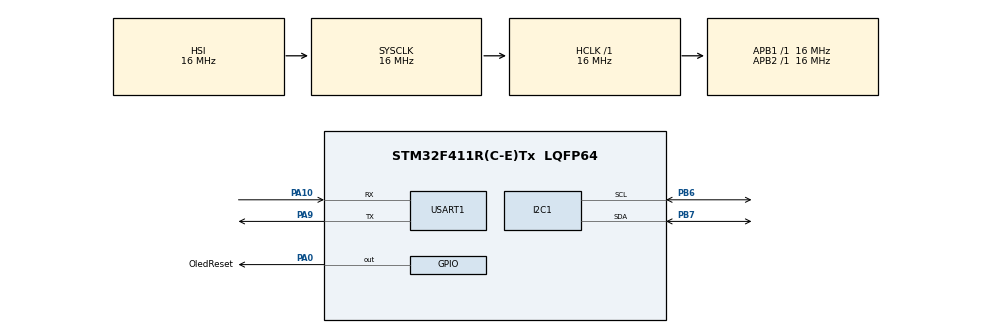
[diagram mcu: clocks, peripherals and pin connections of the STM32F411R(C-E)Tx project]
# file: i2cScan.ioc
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I2C1.I2C_Mode=I2C_Standard
Mcu.Family=STM32F4
Mcu.Name=STM32F411R(C-E)Tx
Mcu.Package=LQFP64
NVIC.PriorityGroup=NVIC_PRIORITYGROUP_4
PA0-WKUP.GPIO_Label=OledReset
PA0-WKUP.Signal=GPIO_Output
PA10.Mode=Asynchronous
PA10.Signal=USART1_RX
PA9.Mode=Asynchronous
PA9.Signal=USART1_TX
PB6.Mode=I2C
PB6.Signal=I2C1_SCL
PB7.Mode=I2C
PB7.Signal=I2C1_SDA
ProjectManager.HeapSize=0x200
ProjectManager.StackSize=0x400
ProjectManager.TargetToolchain=STM32CubeIDE
RCC.AHBFreq_Value=16000000
RCC.APB1Freq_Value=16000000
RCC.APB2Freq_Value=16000000
RCC.CortexFreq_Value=16000000
RCC.HSE_VALUE=25000000
RCC.HSI_VALUE=16000000
RCC.LSE_VALUE=32768
RCC.SYSCLKFreq_VALUE=16000000
RCC.VCOOutputFreq_Value=192000000
USART1.VirtualMode=VM_ASYNC
board=custom

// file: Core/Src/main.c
/* USER CODE BEGIN Header */
/**
  ******************************************************************************
  * @file           : main.c
  * @brief          : Main program body
  ******************************************************************************
  * @attention
  *
  * Copyright (c) 2023 STMicroelectronics.
  * All rights reserved.
  *
  * This software is licensed under terms that can be found in the LICENSE file
  * in the root directory of this software component.
  * If no LICENSE file comes with this software, it is provided AS-IS.
  *
  ******************************************************************************
  */
/* USER CODE END Header */
#include "main.h"

/* USER CODE BEGIN Includes */
#include "uart.h"
/* USER CODE END Includes */

I2C_HandleTypeDef hi2c1;

UART_HandleTypeDef huart1;

void SystemClock_Config(void);
static void MX_GPIO_Init(void);
static void MX_I2C1_Init(void);
static void MX_USART1_UART_Init(void);

/* USER CODE BEGIN 0 */

#define memTemperatureBase	  0
#define memTemperatureSize 		4
#define memC02Base (memTemperatureBase+memTemperatureSize)
#define memC02Size 4
#define memDeviceName (memC02Base+memC02Size)
#define memDeviceNameSize 20

void writeEeprom(uint16_t address, uint8_t data)
{
	uint8_t txBuffer[3];
	txBuffer[0]=address >>8;
	txBuffer[1]=address & 0x00ff;
	txBuffer[2]=data;
	HAL_I2C_Master_Transmit(&hi2c1, 0xA0, txBuffer, sizeof(txBuffer), 1);
	HAL_Delay(5);
}

uint8_t readEeprom(uint16_t address)
{
	uint8_t txBuffer[2];
	uint8_t rxBuffer;
	txBuffer[0]=address >>8;
	txBuffer[1]=address & 0x00ff;
	HAL_I2C_Master_Transmit(&hi2c1, 0xA0, txBuffer, sizeof(txBuffer), 1);
	HAL_I2C_Master_Receive(&hi2c1, 0xA0, &rxBuffer, 1, 1);
	return rxBuffer;
}

void writeEeprom2(uint16_t address,uint8_t data)//another way(write)
{
	HAL_I2C_Mem_Write(&hi2c1, 0xA0, address, 2, &data, 1, 1);
}

uint8_t readEeprom2(uint16_t address)//another way(read)
{
	uint8_t rxBuffer;
	HAL_I2C_Mem_Read(&hi2c1, 0xA0, address, 2, &rxBuffer, 1, 1);
	return rxBuffer;

}

typedef struct{
	uint8_t sec;
	uint8_t min;
	uint8_t hour;
	uint8_t day;
	uint8_t date;
	uint8_t month;
	uint8_t year;
}Datetime_t;

void writeRtc(Datetime_t dateTime){
	uint8_t txBuffer[7];
	memcpy(txBuffer,&dateTime,7);
	HAL_I2C_Mem_Write(&hi2c1, 0xD0, 0, 1, &dateTime, 7, 1);//알아서 구조체�?� 값들�?� 차례로 저장�?�다.
}

void readRtc(){
	Datetime_t result;
	HAL_I2C_Mem_Read(&hi2c1, 0xD0, 0, 1, &result, 7, 1);
	return result;
}

void writeEeprom4Byte(uint16_t address,uint32_t data)//32bit짜리 �?��?�터를 8bit로 쪼개서 i2c통신�? �?용
{
	uint8_t buffer[4];
	memcpy(buffer,&data,4);//instead of bit shifting
	/*buffer[0]=data>>24;
	buffer[1]=data>>16;
	buffer[2]=data>>8;
	buffer[3]=data;*/
	writeEeprom(address,buffer[0]);
	writeEeprom(address+1,buffer[1]);
	writeEeprom(address+2,buffer[2]);
	writeEeprom(address+3,buffer[3]);
}

uint32_t readEeprom4Byte(uint16_t address)//i2c를 통해 받�?� 8bit�?��?�터를 32비트로 합�?서 �?��?�
{
	uint8_t rxBuffer[4];
	uint32_t result;
	rxBuffer[0]=readEeprom(address);
	rxBuffer[1]=readEeprom(address+1);
	rxBuffer[2]=readEeprom(address+2);
	rxBuffer[3]=readEeprom(address+3);
	memcpy(&result,rxBuffer,4);
	return result;
}
/* USER CODE END 0 */

int main(void)
{

  /* MCU Configuration--------------------------------------------------------*/

  /* Reset of all peripherals, Initializes the Flash interface and the Systick. */
  HAL_Init();

  /* Configure the system clock */
  SystemClock_Config();

  /* Initialize all configured peripherals */
  MX_GPIO_Init();
  MX_I2C1_Init();
  MX_USART1_UART_Init();
  /* USER CODE BEGIN 2 */
  printf("I2C Scanner\n");
  //reset
HAL_GPIO_WritePin(OledReset_GPIO_Port, OledReset_Pin, 0);
HAL_Delay(1);
HAL_GPIO_WritePin(OledReset_GPIO_Port, OledReset_Pin, 1);

  for(int address=0;address<256;address++)
  {
  	int result= HAL_I2C_IsDeviceReady(&hi2c1, address, 0, 1);
  	if(result==HAL_OK){
  	printf("%02x = %d\n",address,result);
  	}
  }

 /* writeEeprom4Byte(memTemperatureBase, 0x12345678);
  writeEeprom4Byte(memTemperatureBase, 0x87654321);*/

/*  //for write to EEPROM
  uint8_t txBuffer[3];
  txBuffer[0]=upperAddress;
  txBuffer[1]=lowerAddress;
  txBuffer[2]=data;
HAL_I2C_Master_Transmit(&hi2c1, 0x7f, txBuffer, 3, 1);

//for read to EEPROM
uint8_t txBuffer[2];
uint8_t rxBuffer;
txBuffer[0]=upperAddress;
txBuffer[1]=lowerAddress;
HAL_I2C_Master_Transmit(&hi2c1, 0x7f, txBuffer, 2, 1);
HAL_I2C_Master_Receive(&hi2c1, 0x7f, &rxBuffer, 1, 1);*/

  /* USER CODE END 2 */

  /* Infinite loop */
  while (1)
  {

  }
}

void SystemClock_Config(void)
{
  RCC_OscInitTypeDef RCC_OscInitStruct = {0};
  RCC_ClkInitTypeDef RCC_ClkInitStruct = {0};

  /** Configure the main internal regulator output voltage
  */
  __HAL_RCC_PWR_CLK_ENABLE();
  __HAL_PWR_VOLTAGESCALING_CONFIG(PWR_REGULATOR_VOLTAGE_SCALE1);

  /** Initializes the RCC Oscillators according to the specified parameters
  * in the RCC_OscInitTypeDef structure.
  */
  RCC_OscInitStruct.OscillatorType = RCC_OSCILLATORTYPE_HSI;
  RCC_OscInitStruct.HSIState = RCC_HSI_ON;
  RCC_OscInitStruct.HSICalibrationValue = RCC_HSICALIBRATION_DEFAULT;
  RCC_OscInitStruct.PLL.PLLState = RCC_PLL_NONE;
  if (HAL_RCC_OscConfig(&RCC_OscInitStruct) != HAL_OK)
  {
    Error_Handler();
  }

  /** Initializes the CPU, AHB and APB buses clocks
  */
  RCC_ClkInitStruct.ClockType = RCC_CLOCKTYPE_HCLK|RCC_CLOCKTYPE_SYSCLK
                              |RCC_CLOCKTYPE_PCLK1|RCC_CLOCKTYPE_PCLK2;
  RCC_ClkInitStruct.SYSCLKSource = RCC_SYSCLKSOURCE_HSI;
  RCC_ClkInitStruct.AHBCLKDivider = RCC_SYSCLK_DIV1;
  RCC_ClkInitStruct.APB1CLKDivider = RCC_HCLK_DIV1;
  RCC_ClkInitStruct.APB2CLKDivider = RCC_HCLK_DIV1;

  if (HAL_RCC_ClockConfig(&RCC_ClkInitStruct, FLASH_LATENCY_0) != HAL_OK)
  {
    Error_Handler();
  }
}

static void MX_I2C1_Init(void)
{

  hi2c1.Instance = I2C1;
  hi2c1.Init.ClockSpeed = 100000;
  hi2c1.Init.DutyCycle = I2C_DUTYCYCLE_2;
  hi2c1.Init.OwnAddress1 = 0;
  hi2c1.Init.AddressingMode = I2C_ADDRESSINGMODE_7BIT;
  hi2c1.Init.DualAddressMode = I2C_DUALADDRESS_DISABLE;
  hi2c1.Init.OwnAddress2 = 0;
  hi2c1.Init.GeneralCallMode = I2C_GENERALCALL_DISABLE;
  hi2c1.Init.NoStretchMode = I2C_NOSTRETCH_DISABLE;
  if (HAL_I2C_Init(&hi2c1) != HAL_OK)
  {
    Error_Handler();
  }

}

static void MX_USART1_UART_Init(void)
{

  huart1.Instance = USART1;
  huart1.Init.BaudRate = 115200;
  huart1.Init.WordLength = UART_WORDLENGTH_8B;
  huart1.Init.StopBits = UART_STOPBITS_1;
  huart1.Init.Parity = UART_PARITY_NONE;
  huart1.Init.Mode = UART_MODE_TX_RX;
  huart1.Init.HwFlowCtl = UART_HWCONTROL_NONE;
  huart1.Init.OverSampling = UART_OVERSAMPLING_16;
  if (HAL_UART_Init(&huart1) != HAL_OK)
  {
    Error_Handler();
  }

}

static void MX_GPIO_Init(void)
{
  GPIO_InitTypeDef GPIO_InitStruct = {0};

  /* GPIO Ports Clock Enable */
  __HAL_RCC_GPIOA_CLK_ENABLE();
  __HAL_RCC_GPIOB_CLK_ENABLE();

  /*Configure GPIO pin Output Level */
  HAL_GPIO_WritePin(OledReset_GPIO_Port, OledReset_Pin, GPIO_PIN_RESET);

  /*Configure GPIO pin : OledReset_Pin */
  GPIO_InitStruct.Pin = OledReset_Pin;
  GPIO_InitStruct.Mode = GPIO_MODE_OUTPUT_PP;
  GPIO_InitStruct.Pull = GPIO_NOPULL;
  GPIO_InitStruct.Speed = GPIO_SPEED_FREQ_LOW;
  HAL_GPIO_Init(OledReset_GPIO_Port, &GPIO_InitStruct);

}

void Error_Handler(void)
{
  __disable_irq();
  while (1)
  {
  }
}
